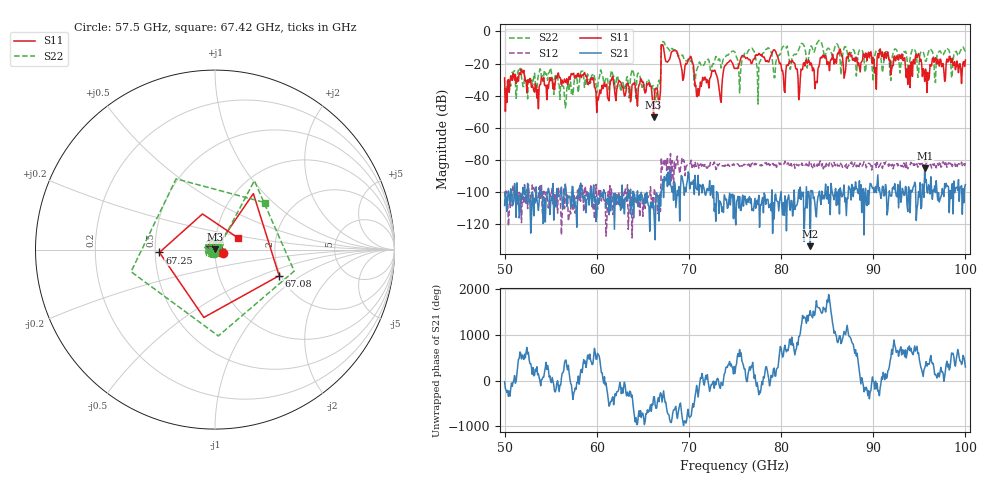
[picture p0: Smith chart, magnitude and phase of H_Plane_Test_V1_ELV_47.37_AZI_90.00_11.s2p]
! 11/27/2026 8:08:19 AM
! C:\ANRITSUVNA\TEMP\TEMP.S2P
! CHANNEL.1
! TR.MEASUREMENT
! RAW.DATA
# HZ S RI R 50.0
! FREQ.HZ  S11RE  S11IM  S21RE  S21IM  S12RE  S12IM  S22RE  S22IM
!; PortSelection: Port_12
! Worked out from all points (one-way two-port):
!   601 points, 50 GHz to 100 GHz, reference 50 ohm
!   highest |S21| = -85.35 dB at 95.58 GHz (marker M1); lowest = -134.0 dB at 83.17 GHz (marker M2)
!   lowest |S11| = -53.7 dB at 66.17 GHz (marker M3), VSWR 1.00, Z = 50.1 + j0.162 ohm
!   |S11| at or under -10 dB: start of sweep to 67 GHz; 67.24 GHz to end of sweep
!   |S22| runs from -47.6 to -5.6 dB; largest |S21 - S12| = 0.00017
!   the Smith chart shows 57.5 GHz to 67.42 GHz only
!   S11 on the Smith chart (normalised r, x): 57.5 GHz: 1.09, -0.04; 67.08 GHz: 1.96, -0.67; 67.25 GHz: 0.53, -0.02; 67.42 GHz: 1.29, +0.17
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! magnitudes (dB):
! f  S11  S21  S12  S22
! 50 GHz  -29.0  -108.6  -99.7  -35.7
! 51.67 GHz  -26.2  -114.0  -112.8  -23.1
! 53.42 GHz  -34.7  -97.0  -97.7  -35.4
! 57.5 GHz  -26.1  -109.6  -101.4  -34.4
! 58.42 GHz  -27.1  -100.0  -96.1  -24.6
! 60.17 GHz  -42.7  -107.9  -102.3  -30.2
! 66.17 GHz  -53.7  -108.9  -111.4  -33.9
! 66.67 GHz  -41.7  -104.5  -113.2  -31.6
! 67.08 GHz  -8.3  -98.4  -86.1  -6.8
! 67.25 GHz  -10.2  -103.6  -80.8  -6.3
! 67.42 GHz  -16.8  -93.1  -79.7  -8.3
! 70.25 GHz  -16.0  -94.0  -80.3  -18.7
! 70.92 GHz  -40.7  -98.9  -82.2  -22.9
! 75 GHz  -23.1  -113.7  -82.5  -13.0
! 77.58 GHz  -13.8  -102.2  -83.3  -22.0
! 83.17 GHz  -21.0  -134.0  -81.9  -10.0
! 83.42 GHz  -24.6  -99.5  -84.8  -10.9
! 91.67 GHz  -16.6  -104.4  -84.2  -15.3
! 93.75 GHz  -33.1  -112.4  -85.6  -21.7
! 94.83 GHz  -14.9  -107.5  -84.7  -28.6
! 95.58 GHz  -31.1  -85.4  -79.9  -16.5
! 100 GHz  -17.8  -95.6  -82.2  -12.6
